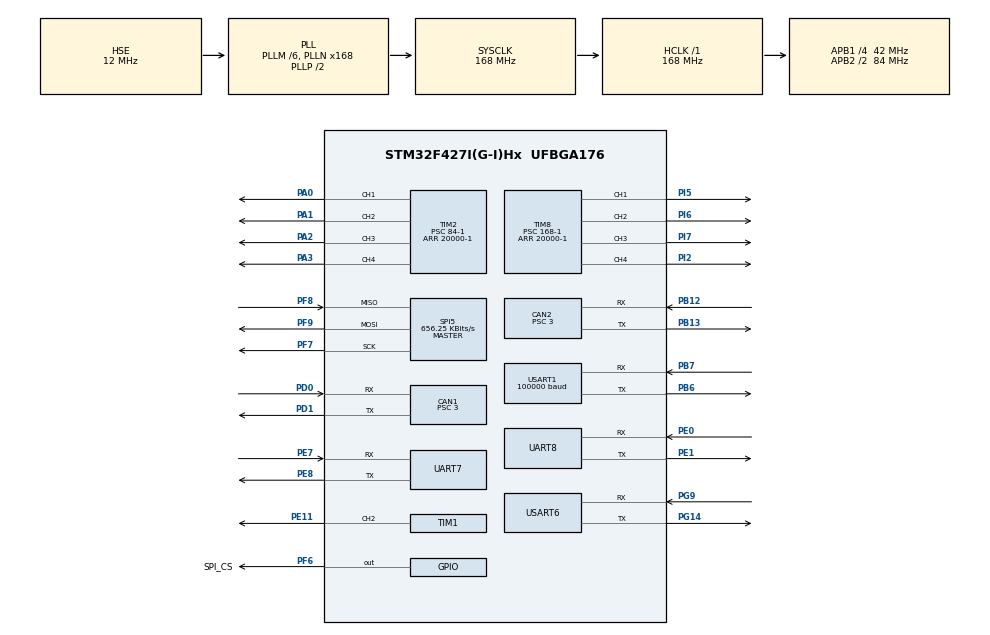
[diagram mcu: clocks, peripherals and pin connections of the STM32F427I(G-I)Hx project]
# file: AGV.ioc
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CAN1.BS1=CAN_BS1_9TQ
CAN1.BS2=CAN_BS2_4TQ
CAN1.CalculateBaudRate=1000000
CAN1.CalculateTimeBit=1000
CAN1.CalculateTimeQuantum=71.42857142857143
CAN1.Prescaler=3
CAN2.BS1=CAN_BS1_9TQ
CAN2.BS2=CAN_BS2_4TQ
CAN2.CalculateBaudRate=1000000
CAN2.CalculateTimeBit=1000
CAN2.CalculateTimeQuantum=71.42857142857143
CAN2.Prescaler=3
Dma.Request0=USART1_RX
Dma.Request1=UART8_RX
Dma.Request2=UART7_TX
Dma.Request3=UART7_RX
Dma.UART7_RX.3.Direction=DMA_PERIPH_TO_MEMORY
Dma.UART7_RX.3.FIFOMode=DMA_FIFOMODE_DISABLE
Dma.UART7_RX.3.Instance=DMA1_Stream3
Dma.UART7_RX.3.MemDataAlignment=DMA_MDATAALIGN_BYTE
Dma.UART7_RX.3.MemInc=DMA_MINC_ENABLE
Dma.UART7_RX.3.Mode=DMA_CIRCULAR
Dma.UART7_RX.3.PeriphDataAlignment=DMA_PDATAALIGN_BYTE
Dma.UART7_RX.3.PeriphInc=DMA_PINC_DISABLE
Dma.UART7_RX.3.Priority=DMA_PRIORITY_LOW
Dma.UART7_TX.2.Direction=DMA_MEMORY_TO_PERIPH
Dma.UART7_TX.2.FIFOMode=DMA_FIFOMODE_DISABLE
Dma.UART7_TX.2.Instance=DMA1_Stream1
Dma.UART7_TX.2.MemDataAlignment=DMA_MDATAALIGN_BYTE
Dma.UART7_TX.2.MemInc=DMA_MINC_ENABLE
Dma.UART7_TX.2.Mode=DMA_NORMAL
Dma.UART7_TX.2.PeriphDataAlignment=DMA_PDATAALIGN_BYTE
Dma.UART7_TX.2.PeriphInc=DMA_PINC_DISABLE
Dma.UART7_TX.2.Priority=DMA_PRIORITY_LOW
Dma.UART8_RX.1.Direction=DMA_PERIPH_TO_MEMORY
Dma.UART8_RX.1.FIFOMode=DMA_FIFOMODE_DISABLE
Dma.UART8_RX.1.Instance=DMA1_Stream6
Dma.UART8_RX.1.MemDataAlignment=DMA_MDATAALIGN_BYTE
Dma.UART8_RX.1.MemInc=DMA_MINC_ENABLE
Dma.UART8_RX.1.Mode=DMA_NORMAL
Dma.UART8_RX.1.PeriphDataAlignment=DMA_PDATAALIGN_BYTE
Dma.UART8_RX.1.PeriphInc=DMA_PINC_DISABLE
Dma.UART8_RX.1.Priority=DMA_PRIORITY_LOW
Dma.USART1_RX.0.Direction=DMA_PERIPH_TO_MEMORY
Dma.USART1_RX.0.FIFOMode=DMA_FIFOMODE_DISABLE
Dma.USART1_RX.0.Instance=DMA2_Stream2
Dma.USART1_RX.0.MemDataAlignment=DMA_MDATAALIGN_BYTE
Dma.USART1_RX.0.MemInc=DMA_MINC_ENABLE
Dma.USART1_RX.0.Mode=DMA_CIRCULAR
Dma.USART1_RX.0.PeriphDataAlignment=DMA_PDATAALIGN_BYTE
Dma.USART1_RX.0.PeriphInc=DMA_PINC_DISABLE
Dma.USART1_RX.0.Priority=DMA_PRIORITY_VERY_HIGH
FREERTOS.INCLUDE_pcTaskGetTaskName=1
FREERTOS.INCLUDE_uxTaskGetStackHighWaterMark=1
FREERTOS.INCLUDE_uxTaskGetStackHighWaterMark2=0
FREERTOS.INCLUDE_vTaskDelayUntil=1
FREERTOS.Tasks01=START_TASK,0,256,start_task,Default,NULL,Dynamic,NULL,NULL
Mcu.Family=STM32F4
Mcu.Name=STM32F427I(G-I)Hx
Mcu.Package=UFBGA176
NVIC.CAN1_RX0_IRQn=true\:5\:0\:true\:false\:true\:true\:true\:true\:true
NVIC.CAN1_RX1_IRQn=true\:5\:0\:false\:false\:true\:true\:true\:true\:true
NVIC.CAN2_RX0_IRQn=true\:5\:0\:false\:false\:true\:true\:true\:true\:true
NVIC.CAN2_RX1_IRQn=true\:5\:0\:false\:false\:true\:true\:true\:true\:true
NVIC.DMA1_Stream1_IRQn=true\:5\:0\:false\:false\:true\:true\:false\:true\:true
NVIC.DMA1_Stream3_IRQn=true\:5\:0\:false\:false\:true\:true\:false\:true\:true
NVIC.DMA1_Stream6_IRQn=true\:5\:0\:false\:false\:true\:true\:false\:true\:true
NVIC.DMA2_Stream2_IRQn=true\:5\:0\:false\:false\:true\:true\:false\:true\:true
NVIC.PriorityGroup=NVIC_PRIORITYGROUP_4
NVIC.TIM6_DAC_IRQn=true\:15\:0\:false\:false\:true\:false\:false\:true\:true
NVIC.TIM7_IRQn=true\:5\:0\:false\:false\:true\:true\:true\:true\:true
NVIC.TimeBase=TIM6_DAC_IRQn
NVIC.TimeBaseIP=TIM6
NVIC.UART7_IRQn=true\:5\:0\:false\:false\:true\:true\:true\:true\:true
NVIC.UART8_IRQn=true\:5\:0\:false\:false\:true\:true\:true\:true\:true
NVIC.USART1_IRQn=true\:5\:0\:false\:false\:true\:true\:true\:true\:true
NVIC.USART6_IRQn=true\:5\:0\:false\:false\:true\:true\:true\:true\:true
PA0/WKUP.Signal=S_TIM2_CH1_ETR
PA1.Signal=S_TIM2_CH2
PA13.Mode=Serial_Wire
PA13.Signal=SYS_JTMS-SWDIO
PA14.Mode=Serial_Wire
PA14.Signal=SYS_JTCK-SWCLK
PA2.Signal=S_TIM2_CH3
PA3.Signal=S_TIM2_CH4
PB12.Mode=CAN_Activate
PB12.Signal=CAN2_RX
PB13.Mode=CAN_Activate
PB13.Signal=CAN2_TX
PB6.Mode=Asynchronous
PB6.Signal=USART1_TX
PB7.Mode=Asynchronous
PB7.Signal=USART1_RX
PD0.Mode=CAN_Activate
PD0.Signal=CAN1_RX
PD1.Mode=CAN_Activate
PD1.Signal=CAN1_TX
PE0.Mode=Asynchronous
PE0.Signal=UART8_RX
PE1.Mode=Asynchronous
PE1.Signal=UART8_TX
PE11.Signal=S_TIM1_CH2
PE7.Mode=Asynchronous
PE7.Signal=UART7_RX
PE8.Mode=Asynchronous
PE8.Signal=UART7_TX
PF6.GPIO_Label=SPI_CS
PF6.Signal=GPIO_Output
PF7.Mode=Full_Duplex_Master
PF7.Signal=SPI5_SCK
PF8.Mode=Full_Duplex_Master
PF8.Signal=SPI5_MISO
PF9.Mode=Full_Duplex_Master
PF9.Signal=SPI5_MOSI
PG14.Mode=Asynchronous
PG14.Signal=USART6_TX
PG9.Mode=Asynchronous
PG9.Signal=USART6_RX
PH0/OSC_IN.Mode=HSE-External-Oscillator
PH0/OSC_IN.Signal=RCC_OSC_IN
PH1/OSC_OUT.Mode=HSE-External-Oscillator
PH1/OSC_OUT.Signal=RCC_OSC_OUT
PI2.Signal=S_TIM8_CH4
PI5.Signal=S_TIM8_CH1
PI6.Signal=S_TIM8_CH2
PI7.Signal=S_TIM8_CH3
ProjectManager.HeapSize=0x200
ProjectManager.StackSize=0x400
ProjectManager.TargetToolchain=MDK-ARM V5.32
RCC.48MHZClocksFreq_Value=84000000
RCC.AHBFreq_Value=168000000
RCC.APB1CLKDivider=RCC_HCLK_DIV4
RCC.APB1Freq_Value=42000000
RCC.APB1TimFreq_Value=84000000
RCC.APB2CLKDivider=RCC_HCLK_DIV2
RCC.APB2Freq_Value=84000000
RCC.APB2TimFreq_Value=168000000
RCC.CortexFreq_Value=168000000
RCC.HCLKFreq_Value=168000000
RCC.HSE_VALUE=12000000
RCC.HSI_VALUE=16000000
RCC.LSE_VALUE=32768
RCC.PLLM=6
RCC.PLLN=168
RCC.PLLSourceVirtual=RCC_PLLSOURCE_HSE
RCC.SYSCLKFreq_VALUE=168000000
RCC.SYSCLKSource=RCC_SYSCLKSOURCE_PLLCLK
RCC.VCOOutputFreq_Value=336000000
SH.S_TIM1_CH2.0=TIM1_CH2,PWM Generation2 CH2
SH.S_TIM2_CH1_ETR.0=TIM2_CH1,PWM Generation1 CH1
SH.S_TIM2_CH2.0=TIM2_CH2,PWM Generation2 CH2
SH.S_TIM2_CH3.0=TIM2_CH3,PWM Generation3 CH3
SH.S_TIM2_CH4.0=TIM2_CH4,PWM Generation4 CH4
SH.S_TIM8_CH1.0=TIM8_CH1,PWM Generation1 CH1
SH.S_TIM8_CH2.0=TIM8_CH2,PWM Generation2 CH2
SH.S_TIM8_CH3.0=TIM8_CH3,PWM Generation3 CH3
SH.S_TIM8_CH4.0=TIM8_CH4,PWM Generation4 CH4
SPI5.BaudRatePrescaler=SPI_BAUDRATEPRESCALER_128
SPI5.CalculateBaudRate=656.25 KBits/s
SPI5.Direction=SPI_DIRECTION_2LINES
SPI5.Mode=SPI_MODE_MASTER
SPI5.VirtualType=VM_MASTER
TIM1.Channel-PWM\ Generation2\ CH2=TIM_CHANNEL_2
TIM1.Period=1000
TIM1.Prescaler=168
TIM2.Channel-PWM\ Generation1\ CH1=TIM_CHANNEL_1
TIM2.Channel-PWM\ Generation2\ CH2=TIM_CHANNEL_2
TIM2.Channel-PWM\ Generation3\ CH3=TIM_CHANNEL_3
TIM2.Channel-PWM\ Generation4\ CH4=TIM_CHANNEL_4
TIM2.Period=20000-1
TIM2.Prescaler=84-1
TIM7.Period=1000-1
TIM7.Prescaler=42-1
TIM8.Channel-PWM\ Generation1\ CH1=TIM_CHANNEL_1
TIM8.Channel-PWM\ Generation2\ CH2=TIM_CHANNEL_2
TIM8.Channel-PWM\ Generation3\ CH3=TIM_CHANNEL_3
TIM8.Channel-PWM\ Generation4\ CH4=TIM_CHANNEL_4
TIM8.Period=20000-1
TIM8.Prescaler=168-1
UART7.VirtualMode=Asynchronous
UART8.VirtualMode=Asynchronous
USART1.BaudRate=100000
USART1.VirtualMode=VM_ASYNC
USART6.VirtualMode=VM_ASYNC
VP_FREERTOS_VS_CMSIS_V1.Mode=CMSIS_V1
VP_SYS_VS_tim6.Mode=TIM6
VP_TIM1_VS_ClockSourceINT.Mode=Internal
VP_TIM2_VS_ClockSourceINT.Mode=Internal
VP_TIM7_VS_ClockSourceINT.Mode=Enable_Timer
VP_TIM8_VS_ClockSourceINT.Mode=Internal
board=custom

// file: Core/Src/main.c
/* USER CODE BEGIN Header */

/* USER CODE END Header */
#include "main.h"
#include "cmsis_os.h"
#include "can.h"
#include "dma.h"
#include "spi.h"
#include "tim.h"
#include "usart.h"
#include "gpio.h"

/* USER CODE BEGIN Includes */
#include "Can_recive.h"
#include "pid.h"
#include "ops.h"
#include "base_usart.h"
#include "chassis_task.h"
#include "bsp_imu.h"

/* USER CODE END Includes */

void SystemClock_Config(void);
void MX_FREERTOS_Init(void);

int main(void)
{

  /* MCU Configuration--------------------------------------------------------*/

  /* Reset of all peripherals, Initializes the Flash interface and the Systick. */
  HAL_Init();

  /* Configure the system clock */
  SystemClock_Config();

  /* Initialize all configured peripherals */
  MX_GPIO_Init();
  MX_DMA_Init();
  MX_CAN1_Init();
  MX_USART1_UART_Init();
  MX_CAN2_Init();
  MX_TIM1_Init();
  MX_TIM2_Init();
  MX_TIM8_Init();
  MX_UART8_Init();
  MX_UART7_Init();
  MX_TIM7_Init();
  MX_SPI5_Init();
  MX_USART6_UART_Init();
  /* USER CODE BEGIN 2 */
	HAL_UART_Receive_IT(&huart8,uwb_receive_data,8);
	remote_control_init();
	canfilter_init_start();
	mpu_device_init();
	init_quaternion();
  /* USER CODE END 2 */

  /* Call init function for freertos objects (in freertos.c) */
  MX_FREERTOS_Init();

  /* Start scheduler */
  osKernelStart();

  /* We should never get here as control is now taken by the scheduler */
  /* Infinite loop */

}

void SystemClock_Config(void)
{
  RCC_OscInitTypeDef RCC_OscInitStruct = {0};
  RCC_ClkInitTypeDef RCC_ClkInitStruct = {0};

  /** Configure the main internal regulator output voltage
  */
  __HAL_RCC_PWR_CLK_ENABLE();
  __HAL_PWR_VOLTAGESCALING_CONFIG(PWR_REGULATOR_VOLTAGE_SCALE1);

  /** Initializes the RCC Oscillators according to the specified parameters
  * in the RCC_OscInitTypeDef structure.
  */
  RCC_OscInitStruct.OscillatorType = RCC_OSCILLATORTYPE_HSE;
  RCC_OscInitStruct.HSEState = RCC_HSE_ON;
  RCC_OscInitStruct.PLL.PLLState = RCC_PLL_ON;
  RCC_OscInitStruct.PLL.PLLSource = RCC_PLLSOURCE_HSE;
  RCC_OscInitStruct.PLL.PLLM = 6;
  RCC_OscInitStruct.PLL.PLLN = 168;
  RCC_OscInitStruct.PLL.PLLP = RCC_PLLP_DIV2;
  RCC_OscInitStruct.PLL.PLLQ = 4;
  if (HAL_RCC_OscConfig(&RCC_OscInitStruct) != HAL_OK)
  {
    Error_Handler();
  }

  /** Initializes the CPU, AHB and APB buses clocks
  */
  RCC_ClkInitStruct.ClockType = RCC_CLOCKTYPE_HCLK|RCC_CLOCKTYPE_SYSCLK
                              |RCC_CLOCKTYPE_PCLK1|RCC_CLOCKTYPE_PCLK2;
  RCC_ClkInitStruct.SYSCLKSource = RCC_SYSCLKSOURCE_PLLCLK;
  RCC_ClkInitStruct.AHBCLKDivider = RCC_SYSCLK_DIV1;
  RCC_ClkInitStruct.APB1CLKDivider = RCC_HCLK_DIV4;
  RCC_ClkInitStruct.APB2CLKDivider = RCC_HCLK_DIV2;

  if (HAL_RCC_ClockConfig(&RCC_ClkInitStruct, FLASH_LATENCY_5) != HAL_OK)
  {
    Error_Handler();
  }
}

/* USER CODE BEGIN 4 */
#if 1
#pragma import(__use_no_semihosting)

struct __FILE
{
    int handle;
};

FILE __stdout;
void _sys_exit(int x)
{
    x = x;
}

int fputc(int ch, FILE *f)
{
    while((USART6->SR & 0x40) == 0);

    USART6->DR = (uint8_t) ch;
    return ch;
}

#endif

/* USER CODE END 4 */

void HAL_TIM_PeriodElapsedCallback(TIM_HandleTypeDef *htim)
{
  if (htim->Instance == TIM6) {
    HAL_IncTick();
  }
  /* USER CODE BEGIN Callback 1 */
  if(htim->Instance == htim7.Instance)
	{

	}
  /* USER CODE END Callback 1 */
}

void Error_Handler(void)
{
    __disable_irq();
    while (1)
    {
    }
}

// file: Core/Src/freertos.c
/* USER CODE BEGIN Header */
/**
  ******************************************************************************
  * File Name          : freertos.c
  * Description        : Code for freertos applications
  ******************************************************************************
  * @attention
  *
  * Copyright (c) 2024 STMicroelectronics.
  * All rights reserved.
  *
  * This software is licensed under terms that can be found in the LICENSE file
  * in the root directory of this software component.
  * If no LICENSE file comes with this software, it is provided AS-IS.
  *
  ******************************************************************************
  */
/* USER CODE END Header */

#include "FreeRTOS.h"
#include "task.h"
#include "main.h"
#include "cmsis_os.h"

/* USER CODE BEGIN Includes */
#include "detect_task.h"
/* USER CODE END Includes */

/* USER CODE BEGIN PD */

/**
	*	创建任务宏定义
	* ## 是预处理器的标记粘贴运算符，即连接前后两个单个字符
	* 在C语言的宏定义中，#l 是字符串化运算符（stringizing operator）的一部分。
	* 字符串化运算符 # 用于将宏参数转换为一个字符串常量。
	* 当你在宏定义中使用 #l 时，这里的 l 是一个宏参数，而 # 运算符会将 l 转换为一个字符串。
	* 这意味着在宏展开时，l 会被它实际的值所替换，并且括号中的 l 会被双引号包围，成为一个字符串。
	* 任务函数指针，名字，堆栈，任务参数，优先级，句柄控制块
	*/
#define mTaskCreate(c,l)    xTaskCreate((TaskFunction_t )l##_task,		\
										(const char*    )#l,															\
										(uint16_t       )c##_STK_SIZE,										\
										(void*          )NULL,														\
										(UBaseType_t    )c##_TASK_PRIO,										\
										(TaskHandle_t*  )&l##_TASKHandle)

/*遥控器检测任务*/
/*-摘要-*/ #define DETECT
/*-优先-*/ #define DETECT_TASK_PRIO 5
/*-堆栈-*/ #define DETECT_STK_SIZE 100
/*-声明-*/extern void detect_task(void *pvParameters);
/*-句柄-*/TaskHandle_t    detect_TASKHandle;

/*底盘任务*/
/*-摘要-*/ #define CHASSIS
/*-优先-*/ #define CHASSIS_TASK_PRIO 5
/*-堆栈-*/ #define CHASSIS_STK_SIZE 256
/*-声明-*/extern void chassis_task(void *pvParameters);
/*-句柄-*/TaskHandle_t    chassis_TASKHandle;

/*imu任务*/
/*-摘要-*/ #define IMU
/*-优先-*/ #define IMU_TASK_PRIO 0
/*-堆栈-*/ #define IMU_STK_SIZE 100
/*-声明-*/extern void imu_task(void *pvParameters);
/*-句柄-*/TaskHandle_t    imu_TASKHandle;

/*LED任务*/
/*-摘要-*/ #define LED
/*-优先-*/ #define LED_TASK_PRIO 3
/*-堆栈-*/ #define LED_STK_SIZE 100
/*-声明-*/extern void led_task(void *pvParameters);
/*-句柄-*/TaskHandle_t    led_TASKHandle;

///*ERR任务*/
///*-摘要-*/ #define ERR
///*-优先-*/ #define LED_TASK_PRIO 3
///*-堆栈-*/ #define LED_STK_SIZE 100
///*-声明-*/extern void led_task(void *pvParameters);
///*-句柄-*/TaskHandle_t    led_TASKHandle;

/* USER CODE END PD */

osThreadId START_TASKHandle;

void start_task(void const * argument);

void MX_FREERTOS_Init(void); /* (MISRA C 2004 rule 8.1) */

/* GetIdleTaskMemory prototype (linked to static allocation support) */
void vApplicationGetIdleTaskMemory( StaticTask_t **ppxIdleTaskTCBBuffer, StackType_t **ppxIdleTaskStackBuffer, uint32_t *pulIdleTaskStackSize );

/* USER CODE BEGIN GET_IDLE_TASK_MEMORY */
static StaticTask_t xIdleTaskTCBBuffer;
static StackType_t xIdleStack[configMINIMAL_STACK_SIZE];

void vApplicationGetIdleTaskMemory( StaticTask_t **ppxIdleTaskTCBBuffer, StackType_t **ppxIdleTaskStackBuffer, uint32_t *pulIdleTaskStackSize )
{
  *ppxIdleTaskTCBBuffer = &xIdleTaskTCBBuffer;
  *ppxIdleTaskStackBuffer = &xIdleStack[0];
  *pulIdleTaskStackSize = configMINIMAL_STACK_SIZE;
  /* place for user code */
}
/* USER CODE END GET_IDLE_TASK_MEMORY */

void MX_FREERTOS_Init(void) {

  /* Create the thread(s) */
  /* definition and creation of START_TASK */
  osThreadDef(START_TASK, start_task, osPriorityNormal, 0, 256);
  START_TASKHandle = osThreadCreate(osThread(START_TASK), NULL);

}

void start_task(void const * argument)
{
  /* USER CODE BEGIN start_task */
  /* Infinite loop */
  for(;;)
  {
		taskENTER_CRITICAL(); //�����ٽ���

		//��������
		mTaskCreate(DETECT,detect);
		mTaskCreate(CHASSIS,chassis);
		mTaskCreate(IMU,imu);
		mTaskCreate(LED,led);

		//ɾ���Լ�
		vTaskDelete(START_TASKHandle);
		taskEXIT_CRITICAL(); //�˳��ٽ���

  }
  /* USER CODE END start_task */
}

/* USER CODE BEGIN Application */
void control_task(void *pvParameters)
{

}
/* USER CODE END Application */
